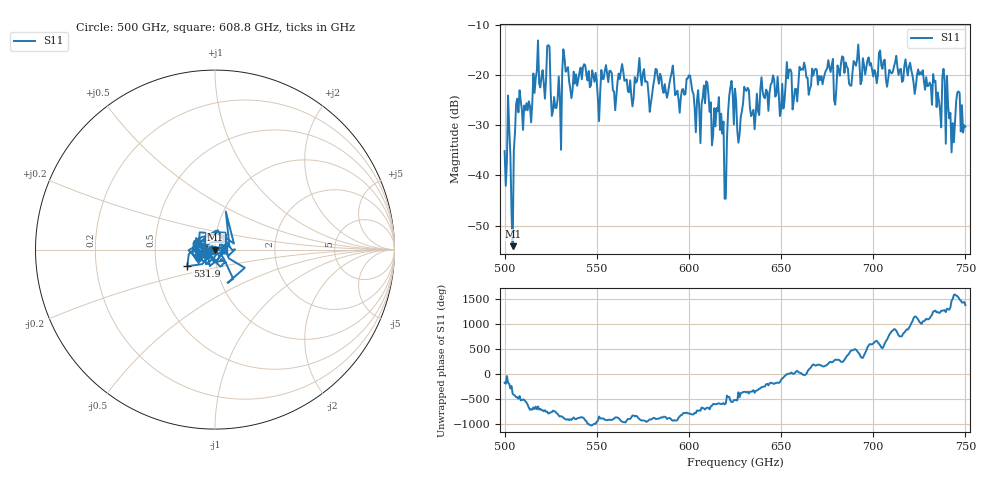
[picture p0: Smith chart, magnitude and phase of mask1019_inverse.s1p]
!Created with skrf (http://scikit-rf.org).
# GHz S MA R 50.0
!freq magS11 angS11
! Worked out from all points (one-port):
!   401 points, 500 GHz to 750 GHz, reference 50 ohm
!   lowest |S11| = -54.1 dB at 504.4 GHz (marker M1), VSWR 1.00, Z = 50.2 - j0.114 ohm
!   |S11| at or under -10 dB: start of sweep to end of sweep
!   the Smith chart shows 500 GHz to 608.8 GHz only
!   S11 on the Smith chart (normalised r, x): 500 GHz: 0.97, -0.00; 531.9 GHz: 0.72, -0.14; 608.8 GHz: 1.11, +0.03
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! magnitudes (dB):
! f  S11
! 500 GHz  -35.2
! 501.9 GHz  -24.1
! 504.4 GHz  -54.1
! 507.5 GHz  -27.4
! 513.8 GHz  -26.2
! 516.9 GHz  -20.7
! 523.8 GHz  -14.1
! 526.9 GHz  -24.4
! 531.2 GHz  -19.4
! 531.9 GHz  -14.9
! 562.5 GHz  -20.8
! 593.8 GHz  -23.1
! 600 GHz  -20.1
! 605 GHz  -23.0
! 608.8 GHz  -25.6
! 617.5 GHz  -27.7
! 619.4 GHz  -44.6
! 622.5 GHz  -22.5
! 625 GHz  -22.8
! 627.5 GHz  -31.7
! 631.2 GHz  -23.2
! 635 GHz  -26.9
! 650.6 GHz  -21.7
! 654.4 GHz  -19.0
! 656.2 GHz  -26.9
! 687.5 GHz  -22.1
! 718.8 GHz  -20.1
! 750 GHz  -30.3
